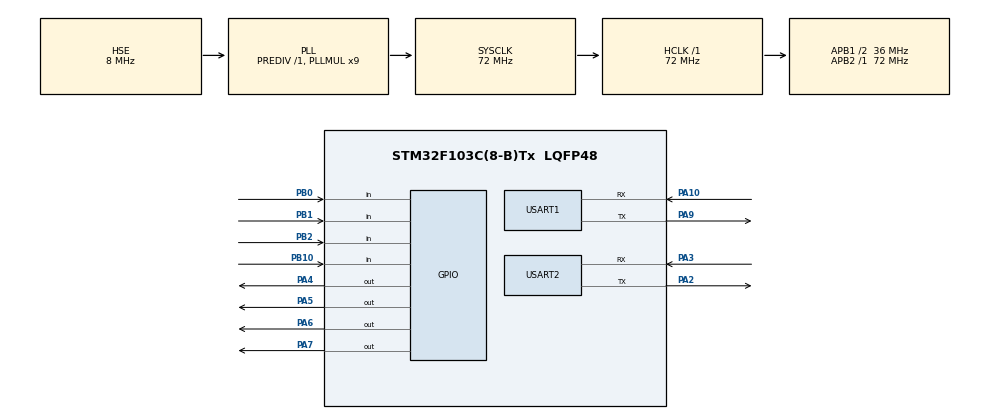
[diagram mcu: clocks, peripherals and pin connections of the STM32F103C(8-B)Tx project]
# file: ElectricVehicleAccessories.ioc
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Dma.Request0=USART2_RX
Dma.Request1=USART1_RX
Dma.USART1_RX.1.Direction=DMA_PERIPH_TO_MEMORY
Dma.USART1_RX.1.Instance=DMA1_Channel5
Dma.USART1_RX.1.MemDataAlignment=DMA_MDATAALIGN_BYTE
Dma.USART1_RX.1.MemInc=DMA_MINC_ENABLE
Dma.USART1_RX.1.Mode=DMA_CIRCULAR
Dma.USART1_RX.1.PeriphDataAlignment=DMA_PDATAALIGN_BYTE
Dma.USART1_RX.1.PeriphInc=DMA_PINC_DISABLE
Dma.USART1_RX.1.Priority=DMA_PRIORITY_LOW
Dma.USART2_RX.0.Direction=DMA_PERIPH_TO_MEMORY
Dma.USART2_RX.0.Instance=DMA1_Channel6
Dma.USART2_RX.0.MemDataAlignment=DMA_MDATAALIGN_BYTE
Dma.USART2_RX.0.MemInc=DMA_MINC_ENABLE
Dma.USART2_RX.0.Mode=DMA_CIRCULAR
Dma.USART2_RX.0.PeriphDataAlignment=DMA_PDATAALIGN_BYTE
Dma.USART2_RX.0.PeriphInc=DMA_PINC_DISABLE
Dma.USART2_RX.0.Priority=DMA_PRIORITY_LOW
FREERTOS.Tasks01=defaultTask,0,128,StartDefaultTask,Default,NULL
Mcu.Family=STM32F1
Mcu.Name=STM32F103C(8-B)Tx
Mcu.Package=LQFP48
NVIC.DMA1_Channel5_IRQn=true\:5\:0\:false\:false\:true\:true\:false\:true
NVIC.DMA1_Channel6_IRQn=true\:5\:0\:false\:false\:true\:true\:false\:true
NVIC.PriorityGroup=NVIC_PRIORITYGROUP_4
NVIC.TIM3_IRQn=true\:0\:0\:false\:false\:true\:false\:false\:true
NVIC.TIM4_IRQn=true\:5\:0\:false\:false\:true\:true\:true\:true
NVIC.TimeBase=TIM3_IRQn
NVIC.TimeBaseIP=TIM3
NVIC.USART1_IRQn=true\:5\:0\:false\:false\:true\:true\:true\:true
NVIC.USART2_IRQn=true\:5\:0\:false\:false\:true\:true\:true\:true
PA10.Mode=Asynchronous
PA10.Signal=USART1_RX
PA13.Mode=Trace_Asynchronous_SW
PA13.Signal=SYS_JTMS-SWDIO
PA14.Mode=Trace_Asynchronous_SW
PA14.Signal=SYS_JTCK-SWCLK
PA2.Mode=Asynchronous
PA2.Signal=USART2_TX
PA3.Mode=Asynchronous
PA3.Signal=USART2_RX
PA4.Signal=GPIO_Output
PA5.Signal=GPIO_Output
PA6.Signal=GPIO_Output
PA7.Signal=GPIO_Output
PA9.Mode=Asynchronous
PA9.Signal=USART1_TX
PB0.Signal=GPIO_Input
PB1.Signal=GPIO_Input
PB10.Signal=GPIO_Input
PB2.Signal=GPIO_Input
PB3.Mode=Trace_Asynchronous_SW
PB3.Signal=SYS_JTDO-TRACESWO
PD0-OSC_IN.Mode=HSE-External-Oscillator
PD0-OSC_IN.Signal=RCC_OSC_IN
PD1-OSC_OUT.Mode=HSE-External-Oscillator
PD1-OSC_OUT.Signal=RCC_OSC_OUT
ProjectManager.HeapSize=0x200
ProjectManager.StackSize=0x400
ProjectManager.TargetToolchain=STM32CubeIDE
RCC.AHBFreq_Value=72000000
RCC.APB1CLKDivider=RCC_HCLK_DIV2
RCC.APB1Freq_Value=36000000
RCC.APB1TimFreq_Value=72000000
RCC.APB2Freq_Value=72000000
RCC.APB2TimFreq_Value=72000000
RCC.HCLKFreq_Value=72000000
RCC.PLLMUL=RCC_PLL_MUL9
RCC.PLLSourceVirtual=RCC_PLLSOURCE_HSE
RCC.SYSCLKFreq_VALUE=72000000
RCC.SYSCLKSource=RCC_SYSCLKSOURCE_PLLCLK
RCC.USBFreq_Value=72000000
TIM4.AutoReloadPreload=TIM_AUTORELOAD_PRELOAD_ENABLE
TIM4.Period=1000-1
TIM4.Prescaler=72-1
USART1.VirtualMode=VM_ASYNC
USART2.VirtualMode=VM_ASYNC
VP_FREERTOS_VS_CMSIS_V1.Mode=CMSIS_V1
VP_SYS_VS_tim3.Mode=TIM3
VP_TIM4_VS_ClockSourceINT.Mode=Internal
board=custom

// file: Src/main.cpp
/* USER CODE BEGIN Header */
/**
  ******************************************************************************
  * @file           : main.c
  * @brief          : Main program body
  ******************************************************************************
  * @attention
  *
  * <h2><center>&copy; Copyright (c) 2019 STMicroelectronics.
  * All rights reserved.</center></h2>
  *
  * This software component is licensed by ST under BSD 3-Clause license,
  * the "License"; You may not use this file except in compliance with the
  * License. You may obtain a copy of the License at:
  *                        opensource.org/licenses/BSD-3-Clause
  *
  ******************************************************************************
  */
/* USER CODE END Header */

#include "main.h"
#include "cmsis_os.h"

/* USER CODE BEGIN Includes */
#include "CUart.h"
#include "CDevice.h"
#include "CObserver.h"
#include "CGPSModule.h"
#include "CAnalysisOfFrame.h"
#include "CTimerMeter.h"
#include "stdio.h"
#include "CMyQueue_Freertos.h"

/* USER CODE END Includes */

TIM_HandleTypeDef htim4;

UART_HandleTypeDef huart1;
UART_HandleTypeDef huart2;
DMA_HandleTypeDef hdma_usart1_rx;
DMA_HandleTypeDef hdma_usart2_rx;

osThreadId defaultTaskHandle;
/* USER CODE BEGIN PV */
using namespace wyz;
CTimerMeter * pTimerMeter = CTimerMeter::GetTimerMeterInstance();
CSubject *pUart1 = new CUart(&huart1,10,1,m_ObserverMode);
CUart *pUart2 = new CUart(&huart2,1,100,m_UsingDMAMode);
/* USER CODE END PV */

void SystemClock_Config(void);
static void MX_GPIO_Init(void);
static void MX_DMA_Init(void);
static void MX_USART1_UART_Init(void);
static void MX_USART2_UART_Init(void);
static void MX_TIM4_Init(void);
void StartDefaultTask(void const * argument);

int main(void)
{
  /* USER CODE BEGIN 1 */
//	uint8_t *k = new uint8_t(); //4b0 8
//	uint8_t *i = new uint8_t();  //4b8 16
//	uint8_t *j = new uint8_t[3]; //4c8 8
//	*k = 1;
//	*i = 2;
//	j[0]=3;j[1]=3;j[2]=3;
//	delete k;delete i;delete []j;
//	uint8_t *l = new uint8_t(); //4d0  16
//	uint8_t *o = new uint8_t(); //4e0
//	uint8_t *p = new uint8_t[3]; //4c8 8
//	*l =4;
//	*o = 5;
//	p[0]=3;p[1]=3;p[2]=3;

  /* USER CODE END 1 */

  /* MCU Configuration--------------------------------------------------------*/

  /* Reset of all peripherals, Initializes the Flash interface and the Systick. */
  HAL_Init();

  /* Configure the system clock */
  SystemClock_Config();

  /* Initialize all configured peripherals */
  MX_GPIO_Init();
  MX_DMA_Init();
  MX_USART1_UART_Init();
  MX_USART2_UART_Init();
  MX_TIM4_Init();
  /* USER CODE BEGIN 2 */
/********************************************************************************
 * ***************************************************************************////
  new int[5];
  HAL_TIM_Base_Start_IT(&htim4);
  CObserver *pGpsModule = new CGPSModule(new CAnalysisOfFrame(100,"$GNRMC","\r\n"));
  pUart1->Attach(pGpsModule);  //绑定观察

/*****************************************************************************************
 * ********************************************************************************** */
  /* USER CODE END 2 */

  /* Create the thread(s) */
  /* definition and creation of defaultTask */
  osThreadDef(defaultTask, StartDefaultTask, osPriorityNormal, 0, 128);
  defaultTaskHandle = osThreadCreate(osThread(defaultTask), NULL);

  /* Start scheduler */
  osKernelStart();

  /* We should never get here as control is now taken by the scheduler */

  /* Infinite loop */
  /* USER CODE BEGIN WHILE */
  string s;
  while (1)
  {
//	  pTimerMeter->StartCounter(&htim4);
//	  uint32_t i = static_cast<CGPSModule*>(pGpsModule)->AnalysisLoop();
//	  printf("%f\r\n",pTimerMeter->StopCounter(&htim4));
//	  printf("%d\r\n",i);
//	  HAL_Delay(50);

    /* USER CODE END WHILE */

  }
}

void SystemClock_Config(void)
{
  RCC_OscInitTypeDef RCC_OscInitStruct = {0};
  RCC_ClkInitTypeDef RCC_ClkInitStruct = {0};

  /** Initializes the CPU, AHB and APB busses clocks
  */
  RCC_OscInitStruct.OscillatorType = RCC_OSCILLATORTYPE_HSE;
  RCC_OscInitStruct.HSEState = RCC_HSE_ON;
  RCC_OscInitStruct.HSEPredivValue = RCC_HSE_PREDIV_DIV1;
  RCC_OscInitStruct.HSIState = RCC_HSI_ON;
  RCC_OscInitStruct.PLL.PLLState = RCC_PLL_ON;
  RCC_OscInitStruct.PLL.PLLSource = RCC_PLLSOURCE_HSE;
  RCC_OscInitStruct.PLL.PLLMUL = RCC_PLL_MUL9;
  if (HAL_RCC_OscConfig(&RCC_OscInitStruct) != HAL_OK)
  {
    Error_Handler();
  }
  /** Initializes the CPU, AHB and APB busses clocks
  */
  RCC_ClkInitStruct.ClockType = RCC_CLOCKTYPE_HCLK|RCC_CLOCKTYPE_SYSCLK
                              |RCC_CLOCKTYPE_PCLK1|RCC_CLOCKTYPE_PCLK2;
  RCC_ClkInitStruct.SYSCLKSource = RCC_SYSCLKSOURCE_PLLCLK;
  RCC_ClkInitStruct.AHBCLKDivider = RCC_SYSCLK_DIV1;
  RCC_ClkInitStruct.APB1CLKDivider = RCC_HCLK_DIV2;
  RCC_ClkInitStruct.APB2CLKDivider = RCC_HCLK_DIV1;

  if (HAL_RCC_ClockConfig(&RCC_ClkInitStruct, FLASH_LATENCY_2) != HAL_OK)
  {
    Error_Handler();
  }
}

static void MX_TIM4_Init(void)
{

  TIM_ClockConfigTypeDef sClockSourceConfig = {0};
  TIM_MasterConfigTypeDef sMasterConfig = {0};

  htim4.Instance = TIM4;
  htim4.Init.Prescaler = 72-1;
  htim4.Init.CounterMode = TIM_COUNTERMODE_UP;
  htim4.Init.Period = 1000-1;
  htim4.Init.ClockDivision = TIM_CLOCKDIVISION_DIV1;
  htim4.Init.AutoReloadPreload = TIM_AUTORELOAD_PRELOAD_ENABLE;
  if (HAL_TIM_Base_Init(&htim4) != HAL_OK)
  {
    Error_Handler();
  }
  sClockSourceConfig.ClockSource = TIM_CLOCKSOURCE_INTERNAL;
  if (HAL_TIM_ConfigClockSource(&htim4, &sClockSourceConfig) != HAL_OK)
  {
    Error_Handler();
  }
  sMasterConfig.MasterOutputTrigger = TIM_TRGO_RESET;
  sMasterConfig.MasterSlaveMode = TIM_MASTERSLAVEMODE_DISABLE;
  if (HAL_TIMEx_MasterConfigSynchronization(&htim4, &sMasterConfig) != HAL_OK)
  {
    Error_Handler();
  }

}

static void MX_USART1_UART_Init(void)
{

  huart1.Instance = USART1;
  huart1.Init.BaudRate = 115200;
  huart1.Init.WordLength = UART_WORDLENGTH_8B;
  huart1.Init.StopBits = UART_STOPBITS_1;
  huart1.Init.Parity = UART_PARITY_NONE;
  huart1.Init.Mode = UART_MODE_TX_RX;
  huart1.Init.HwFlowCtl = UART_HWCONTROL_NONE;
  huart1.Init.OverSampling = UART_OVERSAMPLING_16;
  if (HAL_UART_Init(&huart1) != HAL_OK)
  {
    Error_Handler();
  }

}

static void MX_USART2_UART_Init(void)
{

  huart2.Instance = USART2;
  huart2.Init.BaudRate = 115200;
  huart2.Init.WordLength = UART_WORDLENGTH_8B;
  huart2.Init.StopBits = UART_STOPBITS_1;
  huart2.Init.Parity = UART_PARITY_NONE;
  huart2.Init.Mode = UART_MODE_TX_RX;
  huart2.Init.HwFlowCtl = UART_HWCONTROL_NONE;
  huart2.Init.OverSampling = UART_OVERSAMPLING_16;
  if (HAL_UART_Init(&huart2) != HAL_OK)
  {
    Error_Handler();
  }

}

static void MX_DMA_Init(void)
{

  /* DMA controller clock enable */
  __HAL_RCC_DMA1_CLK_ENABLE();

  /* DMA interrupt init */
  /* DMA1_Channel5_IRQn interrupt configuration */
  HAL_NVIC_SetPriority(DMA1_Channel5_IRQn, 5, 0);
  HAL_NVIC_EnableIRQ(DMA1_Channel5_IRQn);
  /* DMA1_Channel6_IRQn interrupt configuration */
  HAL_NVIC_SetPriority(DMA1_Channel6_IRQn, 5, 0);
  HAL_NVIC_EnableIRQ(DMA1_Channel6_IRQn);

}

static void MX_GPIO_Init(void)
{
  GPIO_InitTypeDef GPIO_InitStruct = {0};

  /* GPIO Ports Clock Enable */
  __HAL_RCC_GPIOC_CLK_ENABLE();
  __HAL_RCC_GPIOD_CLK_ENABLE();
  __HAL_RCC_GPIOA_CLK_ENABLE();
  __HAL_RCC_GPIOB_CLK_ENABLE();

  /*Configure GPIO pin Output Level */
  HAL_GPIO_WritePin(GPIOA, GPIO_PIN_4|GPIO_PIN_5|GPIO_PIN_6|GPIO_PIN_7, GPIO_PIN_RESET);

  /*Configure GPIO pins : PC13 PC14 PC15 */
  GPIO_InitStruct.Pin = GPIO_PIN_13|GPIO_PIN_14|GPIO_PIN_15;
  GPIO_InitStruct.Mode = GPIO_MODE_ANALOG;
  HAL_GPIO_Init(GPIOC, &GPIO_InitStruct);

  /*Configure GPIO pins : PA0 PA1 PA8 PA11
                           PA12 PA15 */
  GPIO_InitStruct.Pin = GPIO_PIN_0|GPIO_PIN_1|GPIO_PIN_8|GPIO_PIN_11
                          |GPIO_PIN_12|GPIO_PIN_15;
  GPIO_InitStruct.Mode = GPIO_MODE_ANALOG;
  HAL_GPIO_Init(GPIOA, &GPIO_InitStruct);

  /*Configure GPIO pins : PA4 PA5 PA6 PA7 */
  GPIO_InitStruct.Pin = GPIO_PIN_4|GPIO_PIN_5|GPIO_PIN_6|GPIO_PIN_7;
  GPIO_InitStruct.Mode = GPIO_MODE_OUTPUT_PP;
  GPIO_InitStruct.Pull = GPIO_NOPULL;
  GPIO_InitStruct.Speed = GPIO_SPEED_FREQ_LOW;
  HAL_GPIO_Init(GPIOA, &GPIO_InitStruct);

  /*Configure GPIO pins : PB0 PB1 PB2 PB10 */
  GPIO_InitStruct.Pin = GPIO_PIN_0|GPIO_PIN_1|GPIO_PIN_2|GPIO_PIN_10;
  GPIO_InitStruct.Mode = GPIO_MODE_INPUT;
  GPIO_InitStruct.Pull = GPIO_NOPULL;
  HAL_GPIO_Init(GPIOB, &GPIO_InitStruct);

  /*Configure GPIO pins : PB11 PB12 PB13 PB14
                           PB15 PB4 PB5 PB6
                           PB7 PB8 PB9 */
  GPIO_InitStruct.Pin = GPIO_PIN_11|GPIO_PIN_12|GPIO_PIN_13|GPIO_PIN_14
                          |GPIO_PIN_15|GPIO_PIN_4|GPIO_PIN_5|GPIO_PIN_6
                          |GPIO_PIN_7|GPIO_PIN_8|GPIO_PIN_9;
  GPIO_InitStruct.Mode = GPIO_MODE_ANALOG;
  HAL_GPIO_Init(GPIOB, &GPIO_InitStruct);

}

/* USER CODE BEGIN 4 */
/*用户中断*/
void HAL_UART_RxCpltCallback(UART_HandleTypeDef  *huart)
{
	static_cast<CUart*>(pUart1)->HardInterrupt(huart,m_UART_RxCplt); //硬件中断处调�????
}
void HAL_UART_RxHalfCpltCallback(UART_HandleTypeDef *huart)
{
	static_cast<CUart*>(pUart1)->HardInterrupt(huart,m_UART_RxHalfCplt); //硬件中断调用
}

/* USER CODE END 4 */

void StartDefaultTask(void const * argument)
{

  /* USER CODE BEGIN 5 */
	typedef struct
	{
		int a;
		char b;
		double c;
	} Simple2;
	Simple2 u1,u2;
	u1.b = 1;
	Simple2 * p2;
	CMyQueueFreertos<Simple2*> q1(3);
	bool flag;
	q1.m_QueueSendToBack(&u1, 100);
	p2 = q1.m_QueueReceive(flag,100);
  /* Infinite loop */
  for(;;)
  {
    osDelay(1);
  }
  /* USER CODE END 5 */
}

void HAL_TIM_PeriodElapsedCallback(TIM_HandleTypeDef *htim)
{
  /* USER CODE BEGIN Callback 0 */
	//由于haltick在这里，�?以halinit启动前中断函数不可调�?
	pTimerMeter->HardInterruptOfTimer(htim);
  /* USER CODE END Callback 0 */
  if (htim->Instance == TIM3) {
    HAL_IncTick();
  }
}

void Error_Handler(void)
{
}

/************************ (C) COPYRIGHT STMicroelectronics *****END OF FILE****/
